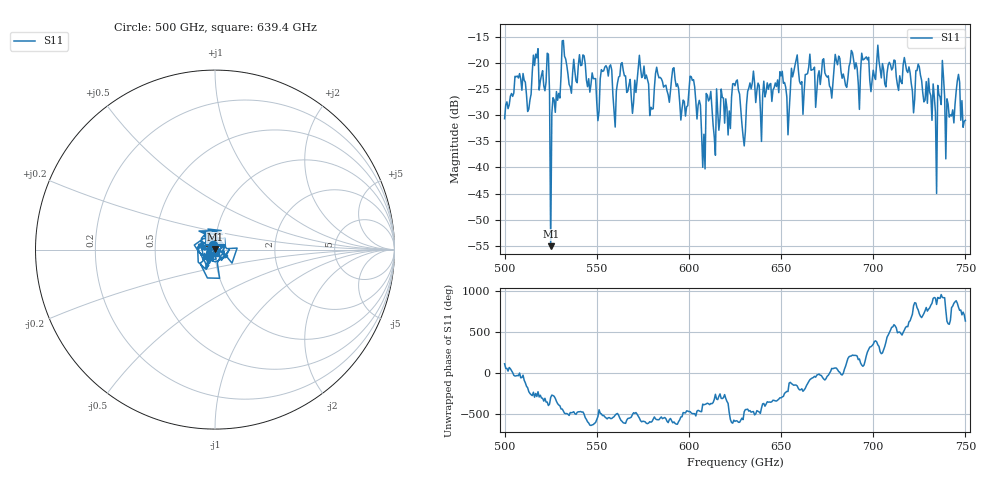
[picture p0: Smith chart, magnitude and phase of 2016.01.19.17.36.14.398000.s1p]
!Created with skrf (http://scikit-rf.org).
# GHz S RI R 50.0
!freq ReS11 ImS11
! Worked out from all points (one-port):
!   401 points, 500 GHz to 750 GHz, reference 50 ohm
!   lowest |S11| = -55.0 dB at 525 GHz (marker M1), VSWR 1.00, Z = 50.1 + j0.155 ohm
!   |S11| at or under -10 dB: start of sweep to end of sweep
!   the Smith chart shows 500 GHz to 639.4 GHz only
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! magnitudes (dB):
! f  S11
! 500 GHz  -30.7
! 506.9 GHz  -22.5
! 513.1 GHz  -28.9
! 516.9 GHz  -18.3
! 523.1 GHz  -18.2
! 525 GHz  -55.0
! 526.2 GHz  -26.7
! 531.2 GHz  -15.8
! 550 GHz  -27.6
! 562.5 GHz  -22.5
! 574.4 GHz  -22.8
! 580 GHz  -28.8
! 583.1 GHz  -22.1
! 593.8 GHz  -24.0
! 601.9 GHz  -23.4
! 607.5 GHz  -40.0
! 610.6 GHz  -27.3
! 615 GHz  -25.0
! 625 GHz  -24.4
! 629.4 GHz  -34.0
! 633.8 GHz  -25.0
! 653.8 GHz  -33.8
! 656.2 GHz  -22.7
! 687.5 GHz  -19.9
! 718.8 GHz  -21.9
! 733.1 GHz  -26.5
! 745.6 GHz  -23.4
! 750 GHz  -31.0
